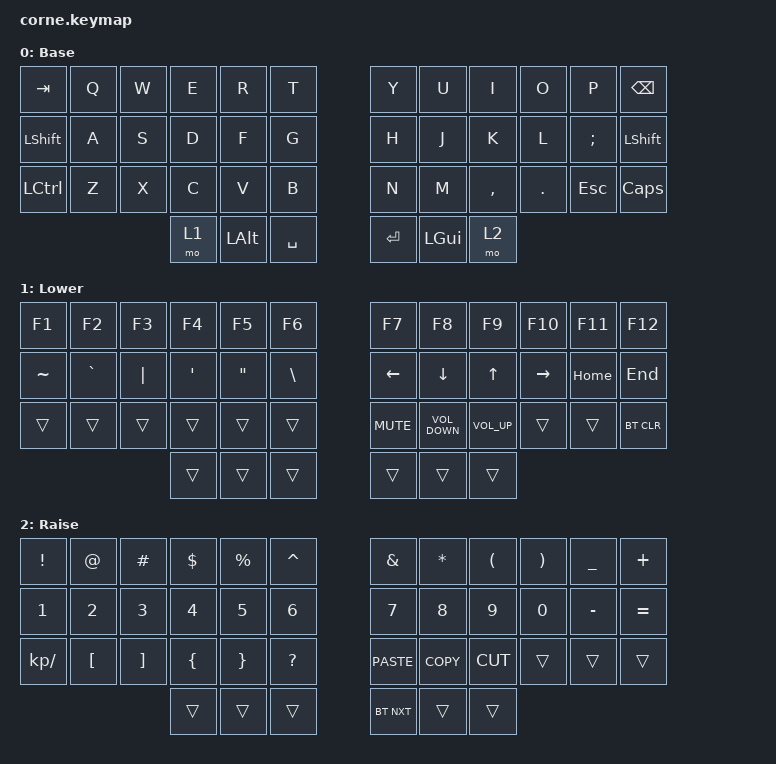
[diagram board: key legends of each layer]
/*
 * Copyright (c) 2020 The ZMK Contributors
 *
 * SPDX-License-Identifier: MIT
 */

#include <behaviors.dtsi>
#include <dt-bindings/zmk/bt.h>
#include <dt-bindings/zmk/keys.h>

/ {
    keymap {
        compatible = "zmk,keymap";

        default_layer {
            label = "Base";
            bindings = <
&kp TAB    &kp Q  &kp W  &kp E  &kp R         &kp T        &kp Y    &kp U         &kp I      &kp O    &kp P     &kp BSPC
&kp LSHFT  &kp A  &kp S  &kp D  &kp F         &kp G        &kp H    &kp J         &kp K      &kp L    &kp SEMI  &kp LSHFT
&kp LCTRL  &kp Z  &kp X  &kp C  &kp V         &kp B        &kp N    &kp M         &kp COMMA  &kp DOT  &kp ESC   &kp CAPSLOCK
                         &mo 1  &kp LEFT_ALT  &kp SPACE    &kp RET  &kp LEFT_GUI  &mo 2
            >;
        };

        lower_layer {
            label = "Lower";
            bindings = <
&kp F1     &kp F2     &kp F3    &kp F4   &kp F5   &kp F6      &kp F7      &kp F8             &kp F9           &kp F10    &kp F11   &kp F12
&kp TILDE  &kp GRAVE  &kp PIPE  &kp SQT  &kp DQT  &kp BSLH    &kp LEFT    &kp DOWN           &kp UP           &kp RIGHT  &kp HOME  &kp END
&trans     &trans     &trans    &trans   &trans   &trans      &kp K_MUTE  &kp C_VOLUME_DOWN  &kp C_VOLUME_UP  &trans     &trans    &bt BT_CLR
                                &trans   &trans   &trans      &trans      &trans             &trans
            >;
        };

        raise_layer {
            label = "Raise";
            bindings = <
&kp EXCL      &kp AT            &kp HASH           &kp DLLR        &kp PRCNT        &kp CARET    &kp AMPS     &kp ASTRK   &kp LPAR   &kp RPAR  &kp UNDER  &kp PLUS
&kp N1        &kp N2            &kp N3             &kp N4          &kp N5           &kp N6       &kp N7       &kp N8      &kp N9     &kp N0    &kp MINUS  &kp EQUAL
&kp KP_SLASH  &kp LEFT_BRACKET  &kp RIGHT_BRACKET  &kp LEFT_BRACE  &kp RIGHT_BRACE  &kp QMARK    &kp K_PASTE  &kp K_COPY  &kp K_CUT  &trans    &trans     &trans
                                                   &trans          &trans           &trans       &bt BT_NXT   &trans      &trans
            >;
        };
    };
};
